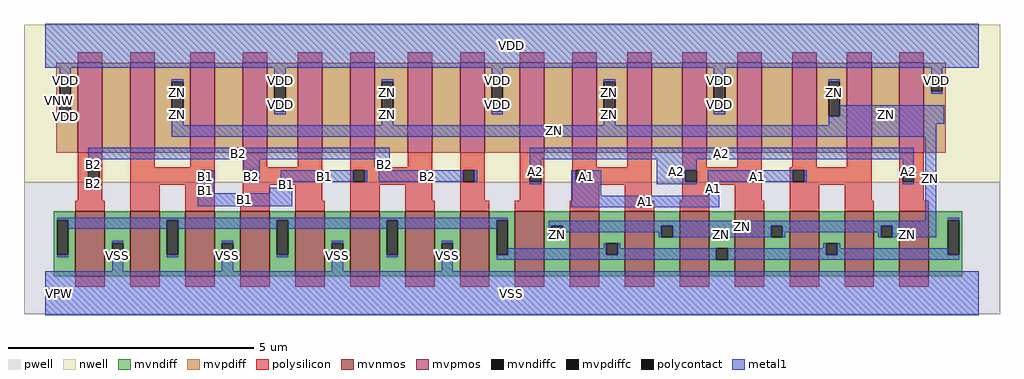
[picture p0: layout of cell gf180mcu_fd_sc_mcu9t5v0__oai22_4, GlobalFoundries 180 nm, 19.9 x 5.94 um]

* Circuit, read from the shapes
.subckt gf180mcu_fd_sc_mcu9t5v0__oai22_4 A1 A2 B1 B2 ZN VDD VNW VPW VSS
XM1 VSS B2 n1 VPW nfet_06v0 w=1.32u l=0.6u m=4
XM2 n1 B1 VSS VPW nfet_06v0 w=1.32u l=0.6u m=4
XM3 ZN A2 n1 VPW nfet_06v0 w=1.32u l=0.6u m=4
XM4 n1 A1 ZN VPW nfet_06v0 w=1.32u l=0.6u m=4
XM5 n2 B2 VDD VNW pfet_06v0 w=1.83u l=0.5u
XM6 ZN B1 n2 VNW pfet_06v0 w=1.83u l=0.5u
XM7 n3 B1 ZN VNW pfet_06v0 w=1.83u l=0.5u
XM8 VDD B2 n3 VNW pfet_06v0 w=1.83u l=0.5u
XM9 n4 B2 VDD VNW pfet_06v0 w=1.83u l=0.5u
XM10 ZN B1 n4 VNW pfet_06v0 w=1.83u l=0.5u
XM11 n5 B1 ZN VNW pfet_06v0 w=1.83u l=0.5u
XM12 VDD B2 n5 VNW pfet_06v0 w=1.83u l=0.5u
XM13 n6 A2 VDD VNW pfet_06v0 w=1.83u l=0.5u
XM14 ZN A1 n6 VNW pfet_06v0 w=1.83u l=0.5u
XM15 n7 A1 ZN VNW pfet_06v0 w=1.83u l=0.5u
XM16 VDD A2 n7 VNW pfet_06v0 w=1.83u l=0.5u
XM17 n8 A2 VDD VNW pfet_06v0 w=1.83u l=0.5u
XM18 ZN A1 n8 VNW pfet_06v0 w=1.83u l=0.5u
XM19 n9 A1 ZN VNW pfet_06v0 w=1.83u l=0.5u
XM20 VDD A2 n9 VNW pfet_06v0 w=1.83u l=0.5u
.ends

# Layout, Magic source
magic
tech gf180mcuD
magscale 1 10
<< nwell >>
rect -86 453 3894 1094
<< pwell >>
rect -86 -86 3894 453
<< mvnmos >>
rect 124 69 244 333
rect 348 69 468 333
rect 572 69 692 333
rect 796 69 916 333
rect 1020 69 1140 333
rect 1244 69 1364 333
rect 1468 69 1588 333
rect 1692 69 1812 333
rect 1916 69 2036 333
rect 2140 69 2260 333
rect 2364 69 2484 333
rect 2588 69 2708 333
rect 2812 69 2932 333
rect 3036 69 3156 333
rect 3260 69 3380 333
rect 3484 69 3604 333
<< mvpmos >>
rect 134 573 234 939
rect 348 573 448 939
rect 592 573 692 939
rect 806 573 906 939
rect 1030 573 1130 939
rect 1244 573 1344 939
rect 1478 573 1578 939
rect 1692 573 1792 939
rect 1936 573 2036 939
rect 2150 573 2250 939
rect 2374 573 2474 939
rect 2598 573 2698 939
rect 2822 573 2922 939
rect 3046 573 3146 939
rect 3270 573 3370 939
rect 3484 573 3584 939
<< mvndiff >>
rect 36 297 124 333
rect 36 157 49 297
rect 95 157 124 297
rect 36 69 124 157
rect 244 203 348 333
rect 244 157 273 203
rect 319 157 348 203
rect 244 69 348 157
rect 468 297 572 333
rect 468 157 497 297
rect 543 157 572 297
rect 468 69 572 157
rect 692 203 796 333
rect 692 157 721 203
rect 767 157 796 203
rect 692 69 796 157
rect 916 297 1020 333
rect 916 157 945 297
rect 991 157 1020 297
rect 916 69 1020 157
rect 1140 203 1244 333
rect 1140 157 1169 203
rect 1215 157 1244 203
rect 1140 69 1244 157
rect 1364 297 1468 333
rect 1364 157 1393 297
rect 1439 157 1468 297
rect 1364 69 1468 157
rect 1588 203 1692 333
rect 1588 157 1617 203
rect 1663 157 1692 203
rect 1588 69 1692 157
rect 1812 297 1916 333
rect 1812 157 1841 297
rect 1887 157 1916 297
rect 1812 69 1916 157
rect 2036 274 2140 333
rect 2036 228 2065 274
rect 2111 228 2140 274
rect 2036 69 2140 228
rect 2260 203 2364 333
rect 2260 157 2289 203
rect 2335 157 2364 203
rect 2260 69 2364 157
rect 2484 274 2588 333
rect 2484 228 2513 274
rect 2559 228 2588 274
rect 2484 69 2588 228
rect 2708 182 2812 333
rect 2708 136 2737 182
rect 2783 136 2812 182
rect 2708 69 2812 136
rect 2932 274 3036 333
rect 2932 228 2961 274
rect 3007 228 3036 274
rect 2932 69 3036 228
rect 3156 203 3260 333
rect 3156 157 3185 203
rect 3231 157 3260 203
rect 3156 69 3260 157
rect 3380 274 3484 333
rect 3380 228 3409 274
rect 3455 228 3484 274
rect 3380 69 3484 228
rect 3604 297 3740 333
rect 3604 157 3681 297
rect 3727 157 3740 297
rect 3604 69 3740 157
<< mvpdiff >>
rect 46 861 134 939
rect 46 721 59 861
rect 105 721 134 861
rect 46 573 134 721
rect 234 573 348 939
rect 448 861 592 939
rect 448 721 517 861
rect 563 721 592 861
rect 448 573 592 721
rect 692 573 806 939
rect 906 881 1030 939
rect 906 741 935 881
rect 981 741 1030 881
rect 906 573 1030 741
rect 1130 573 1244 939
rect 1344 861 1478 939
rect 1344 721 1373 861
rect 1419 721 1478 861
rect 1344 573 1478 721
rect 1578 573 1692 939
rect 1792 881 1936 939
rect 1792 741 1821 881
rect 1867 741 1936 881
rect 1792 573 1936 741
rect 2036 573 2150 939
rect 2250 861 2374 939
rect 2250 721 2279 861
rect 2325 721 2374 861
rect 2250 573 2374 721
rect 2474 573 2598 939
rect 2698 881 2822 939
rect 2698 741 2727 881
rect 2773 741 2822 881
rect 2698 573 2822 741
rect 2922 573 3046 939
rect 3146 861 3270 939
rect 3146 721 3195 861
rect 3241 721 3270 861
rect 3146 573 3270 721
rect 3370 573 3484 939
rect 3584 869 3672 939
rect 3584 823 3613 869
rect 3659 823 3672 869
rect 3584 573 3672 823
<< mvndiffc >>
rect 49 157 95 297
rect 273 157 319 203
rect 497 157 543 297
rect 721 157 767 203
rect 945 157 991 297
rect 1169 157 1215 203
rect 1393 157 1439 297
rect 1617 157 1663 203
rect 1841 157 1887 297
rect 2065 228 2111 274
rect 2289 157 2335 203
rect 2513 228 2559 274
rect 2737 136 2783 182
rect 2961 228 3007 274
rect 3185 157 3231 203
rect 3409 228 3455 274
rect 3681 157 3727 297
<< mvpdiffc >>
rect 59 721 105 861
rect 517 721 563 861
rect 935 741 981 881
rect 1373 721 1419 861
rect 1821 741 1867 881
rect 2279 721 2325 861
rect 2727 741 2773 881
rect 3195 721 3241 861
rect 3613 823 3659 869
<< polysilicon >>
rect 134 939 234 983
rect 348 939 448 983
rect 592 939 692 983
rect 806 939 906 983
rect 1030 939 1130 983
rect 1244 939 1344 983
rect 1478 939 1578 983
rect 1692 939 1792 983
rect 1936 939 2036 983
rect 2150 939 2250 983
rect 2374 939 2474 983
rect 2598 939 2698 983
rect 2822 939 2922 983
rect 3046 939 3146 983
rect 3270 939 3370 983
rect 3484 939 3584 983
rect 134 500 234 573
rect 134 454 175 500
rect 221 454 234 500
rect 134 377 234 454
rect 348 513 448 573
rect 592 513 692 573
rect 348 500 692 513
rect 348 454 633 500
rect 679 454 692 500
rect 348 441 692 454
rect 124 333 244 377
rect 348 333 468 441
rect 572 333 692 441
rect 806 513 906 573
rect 1030 513 1130 573
rect 806 500 1130 513
rect 806 454 819 500
rect 865 454 1130 500
rect 806 441 1130 454
rect 806 377 916 441
rect 796 333 916 377
rect 1020 377 1130 441
rect 1244 513 1344 573
rect 1478 513 1578 573
rect 1244 500 1578 513
rect 1244 454 1257 500
rect 1303 454 1578 500
rect 1244 441 1578 454
rect 1020 333 1140 377
rect 1244 333 1364 441
rect 1468 377 1578 441
rect 1692 500 1792 573
rect 1692 454 1705 500
rect 1751 454 1792 500
rect 1692 377 1792 454
rect 1936 500 2036 573
rect 1936 454 1977 500
rect 2023 454 2036 500
rect 1936 377 2036 454
rect 2150 513 2250 573
rect 2374 513 2474 573
rect 2150 500 2474 513
rect 2150 454 2163 500
rect 2209 454 2474 500
rect 2150 441 2474 454
rect 2150 377 2260 441
rect 1468 333 1588 377
rect 1692 333 1812 377
rect 1916 333 2036 377
rect 2140 333 2260 377
rect 2364 377 2474 441
rect 2598 513 2698 573
rect 2822 513 2922 573
rect 3046 513 3146 573
rect 3270 513 3370 573
rect 2598 500 2922 513
rect 2598 454 2611 500
rect 2657 454 2922 500
rect 2598 441 2922 454
rect 2598 377 2708 441
rect 2364 333 2484 377
rect 2588 333 2708 377
rect 2812 377 2922 441
rect 3036 500 3370 513
rect 3036 454 3049 500
rect 3095 454 3370 500
rect 3036 441 3370 454
rect 2812 333 2932 377
rect 3036 333 3156 441
rect 3260 377 3370 441
rect 3484 500 3584 573
rect 3484 454 3497 500
rect 3543 454 3584 500
rect 3484 377 3584 454
rect 3260 333 3380 377
rect 3484 333 3604 377
rect 124 25 244 69
rect 348 25 468 69
rect 572 25 692 69
rect 796 25 916 69
rect 1020 25 1140 69
rect 1244 25 1364 69
rect 1468 25 1588 69
rect 1692 25 1812 69
rect 1916 25 2036 69
rect 2140 25 2260 69
rect 2364 25 2484 69
rect 2588 25 2708 69
rect 2812 25 2932 69
rect 3036 25 3156 69
rect 3260 25 3380 69
rect 3484 25 3604 69
<< polycontact >>
rect 175 454 221 500
rect 633 454 679 500
rect 819 454 865 500
rect 1257 454 1303 500
rect 1705 454 1751 500
rect 1977 454 2023 500
rect 2163 454 2209 500
rect 2611 454 2657 500
rect 3049 454 3095 500
rect 3497 454 3543 500
<< metal1 >>
rect 0 918 3808 1098
rect 59 861 105 918
rect 935 881 981 918
rect 59 710 105 721
rect 517 861 563 872
rect 1821 881 1867 918
rect 935 730 981 741
rect 1373 861 1419 872
rect 517 684 563 721
rect 2727 881 2773 918
rect 1821 730 1867 741
rect 2279 861 2325 872
rect 1373 684 1419 721
rect 2727 730 2773 741
rect 3195 861 3241 872
rect 2279 684 2325 721
rect 3613 869 3659 918
rect 3613 812 3659 823
rect 3241 721 3666 766
rect 3195 690 3666 721
rect 3195 684 3635 690
rect 517 638 3635 684
rect 175 546 1406 592
rect 175 500 221 546
rect 808 500 876 546
rect 1360 500 1406 546
rect 1977 546 3543 592
rect 1977 500 2023 546
rect 2494 500 2657 546
rect 3497 500 3543 546
rect 175 443 221 454
rect 622 454 633 500
rect 679 454 690 500
rect 808 454 819 500
rect 865 454 876 500
rect 962 454 1257 500
rect 1303 454 1314 500
rect 1360 454 1705 500
rect 1751 454 1762 500
rect 622 408 690 454
rect 962 430 1008 454
rect 1977 443 2023 454
rect 2146 454 2163 500
rect 2209 454 2268 500
rect 916 408 1008 430
rect 622 354 1008 408
rect 2146 397 2268 454
rect 2494 454 2611 500
rect 2494 443 2657 454
rect 2703 454 3049 500
rect 3095 454 3106 500
rect 2703 397 2749 454
rect 3497 443 3543 454
rect 2146 351 2749 397
rect 49 297 1887 308
rect 95 262 497 297
rect 49 146 95 157
rect 273 203 319 214
rect 273 90 319 157
rect 543 262 945 297
rect 497 146 543 157
rect 721 203 767 214
rect 721 90 767 157
rect 991 262 1393 297
rect 945 146 991 157
rect 1169 203 1215 214
rect 1169 90 1215 157
rect 1439 262 1841 297
rect 1393 146 1439 157
rect 1617 203 1663 214
rect 1617 90 1663 157
rect 3589 295 3635 638
rect 2054 274 3635 295
rect 2054 228 2065 274
rect 2111 249 2513 274
rect 2111 228 2122 249
rect 2502 228 2513 249
rect 2559 228 2961 274
rect 3007 249 3409 274
rect 3007 228 3018 249
rect 3398 228 3409 249
rect 3455 228 3635 274
rect 3681 297 3727 308
rect 2278 182 2289 203
rect 1887 157 2289 182
rect 2335 182 2346 203
rect 3174 182 3185 203
rect 2335 157 2737 182
rect 1841 136 2737 157
rect 2783 157 3185 182
rect 3231 182 3242 203
rect 3231 157 3681 182
rect 2783 136 3727 157
rect 0 -90 3808 90
<< labels >>
flabel metal1 s 2703 454 3106 500 0 FreeSans 200 0 0 0 A1
port 1 nsew default input
flabel metal1 s 1977 546 3543 592 0 FreeSans 200 0 0 0 A2
port 2 nsew default input
flabel metal1 s 962 454 1314 500 0 FreeSans 200 0 0 0 B1
port 3 nsew default input
flabel metal1 s 175 546 1406 592 0 FreeSans 200 0 0 0 B2
port 4 nsew default input
flabel metal1 s 0 918 3808 1098 0 FreeSans 200 0 0 0 VDD
port 6 nsew power bidirectional abutment
flabel metal1 s 1617 90 1663 214 0 FreeSans 200 0 0 0 VSS
port 9 nsew ground bidirectional abutment
flabel metal1 s 3195 766 3241 872 0 FreeSans 200 0 0 0 ZN
port 5 nsew default output
flabel nwell s 10 734 110 834 0 FreeSans 400 0 0 0 VNW
port 7 nsew power bidirectional
flabel pwell s 10 -50 110 50 0 FreeSans 400 0 0 0 VPW
port 8 nsew ground bidirectional
rlabel metal1 s 2146 454 2268 500 1 A1
port 1 nsew default input
rlabel metal1 s 2703 397 2749 454 1 A1
port 1 nsew default input
rlabel metal1 s 2146 397 2268 454 1 A1
port 1 nsew default input
rlabel metal1 s 2146 351 2749 397 1 A1
port 1 nsew default input
rlabel metal1 s 3497 443 3543 546 1 A2
port 2 nsew default input
rlabel metal1 s 2494 443 2657 546 1 A2
port 2 nsew default input
rlabel metal1 s 1977 443 2023 546 1 A2
port 2 nsew default input
rlabel metal1 s 622 454 690 500 1 B1
port 3 nsew default input
rlabel metal1 s 962 430 1008 454 1 B1
port 3 nsew default input
rlabel metal1 s 622 430 690 454 1 B1
port 3 nsew default input
rlabel metal1 s 916 408 1008 430 1 B1
port 3 nsew default input
rlabel metal1 s 622 408 690 430 1 B1
port 3 nsew default input
rlabel metal1 s 622 354 1008 408 1 B1
port 3 nsew default input
rlabel metal1 s 1360 500 1406 546 1 B2
port 4 nsew default input
rlabel metal1 s 808 500 876 546 1 B2
port 4 nsew default input
rlabel metal1 s 175 500 221 546 1 B2
port 4 nsew default input
rlabel metal1 s 1360 454 1762 500 1 B2
port 4 nsew default input
rlabel metal1 s 808 454 876 500 1 B2
port 4 nsew default input
rlabel metal1 s 175 454 221 500 1 B2
port 4 nsew default input
rlabel metal1 s 175 443 221 454 1 B2
port 4 nsew default input
rlabel metal1 s 2279 766 2325 872 1 ZN
port 5 nsew default output
rlabel metal1 s 1373 766 1419 872 1 ZN
port 5 nsew default output
rlabel metal1 s 517 766 563 872 1 ZN
port 5 nsew default output
rlabel metal1 s 3195 690 3666 766 1 ZN
port 5 nsew default output
rlabel metal1 s 2279 690 2325 766 1 ZN
port 5 nsew default output
rlabel metal1 s 1373 690 1419 766 1 ZN
port 5 nsew default output
rlabel metal1 s 517 690 563 766 1 ZN
port 5 nsew default output
rlabel metal1 s 3195 684 3635 690 1 ZN
port 5 nsew default output
rlabel metal1 s 2279 684 2325 690 1 ZN
port 5 nsew default output
rlabel metal1 s 1373 684 1419 690 1 ZN
port 5 nsew default output
rlabel metal1 s 517 684 563 690 1 ZN
port 5 nsew default output
rlabel metal1 s 517 638 3635 684 1 ZN
port 5 nsew default output
rlabel metal1 s 3589 295 3635 638 1 ZN
port 5 nsew default output
rlabel metal1 s 2054 249 3635 295 1 ZN
port 5 nsew default output
rlabel metal1 s 3398 228 3635 249 1 ZN
port 5 nsew default output
rlabel metal1 s 2502 228 3018 249 1 ZN
port 5 nsew default output
rlabel metal1 s 2054 228 2122 249 1 ZN
port 5 nsew default output
rlabel metal1 s 3613 812 3659 918 1 VDD
port 6 nsew power bidirectional abutment
rlabel metal1 s 2727 812 2773 918 1 VDD
port 6 nsew power bidirectional abutment
rlabel metal1 s 1821 812 1867 918 1 VDD
port 6 nsew power bidirectional abutment
rlabel metal1 s 935 812 981 918 1 VDD
port 6 nsew power bidirectional abutment
rlabel metal1 s 59 812 105 918 1 VDD
port 6 nsew power bidirectional abutment
rlabel metal1 s 2727 730 2773 812 1 VDD
port 6 nsew power bidirectional abutment
rlabel metal1 s 1821 730 1867 812 1 VDD
port 6 nsew power bidirectional abutment
rlabel metal1 s 935 730 981 812 1 VDD
port 6 nsew power bidirectional abutment
rlabel metal1 s 59 730 105 812 1 VDD
port 6 nsew power bidirectional abutment
rlabel metal1 s 59 710 105 730 1 VDD
port 6 nsew power bidirectional abutment
rlabel metal1 s 1169 90 1215 214 1 VSS
port 9 nsew ground bidirectional abutment
rlabel metal1 s 721 90 767 214 1 VSS
port 9 nsew ground bidirectional abutment
rlabel metal1 s 273 90 319 214 1 VSS
port 9 nsew ground bidirectional abutment
rlabel metal1 s 0 -90 3808 90 1 VSS
port 9 nsew ground bidirectional abutment
<< properties >>
string FIXED_BBOX 0 0 3808 1008
string GDS_END 144978
string GDS_FILE $PDKPATH/libs.ref/gf180mcu_fd_sc_mcu9t5v0/gds/gf180mcu_fd_sc_mcu9t5v0.gds
string GDS_START 137554
string LEFclass core
string LEFsite GF018hv5v_green_sc9
string LEFsymmetry X Y
<< end >>
